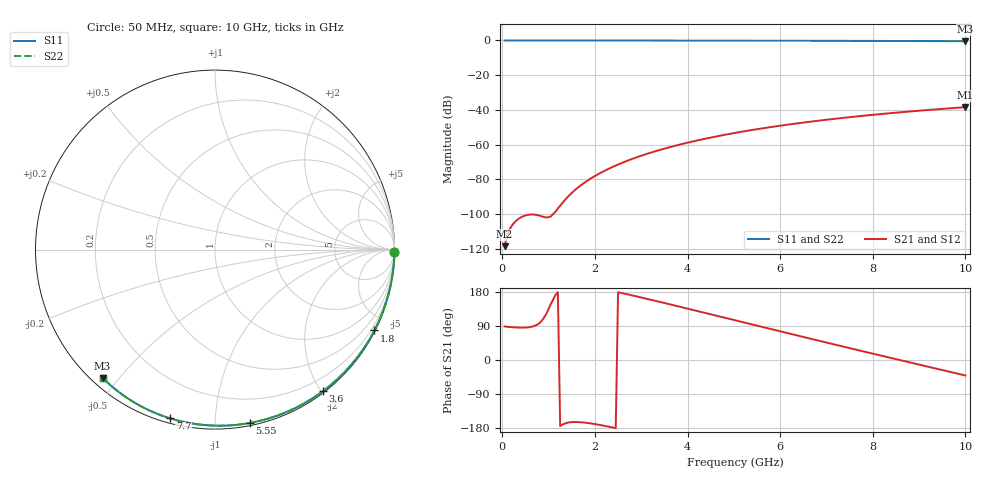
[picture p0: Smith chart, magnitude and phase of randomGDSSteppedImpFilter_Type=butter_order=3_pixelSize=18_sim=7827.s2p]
! freq	dB(S11)	phase(S11)	dB(S12)	phase(S12)
!  dB(S21)	phase(S21)	dB(S22)	phase(S22)
!S-par simulation data
#  GHz  S  DB  R 50
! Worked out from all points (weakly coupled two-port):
!   200 points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, 50 MHz to 10 GHz, reference 50 ohm
!   highest |S21| = -38.45 dB at 10 GHz (marker M1); lowest = -118.5 dB at 50 MHz (marker M2)
!   lowest |S11| = -0.4 dB at 10 GHz (marker M3), VSWR 39.13, Z = 1.54 - j22.6 ohm
!   |S11| at or under -10 dB: nowhere
!   |S22| runs from -0.4 to 0.0 dB; largest |S21 - S12| = 0
!   S11 on the Smith chart (normalised r, x): 50 MHz: open; 1.8 GHz: 0.04, -4.18; 3.6 GHz: 0.02, -2.02; 5.55 GHz: 0.02, -1.22; 7.7 GHz: 0.02, -0.77; 10 GHz: 0.03, -0.45
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0.05  -0.00 -0.8  -118.51 88.6  -118.51 88.6  -0.00 -0.8
0.9  -0.02 -13.6  -101.73 111.6  -101.73 111.6  -0.02 -13.6
1.75  -0.03 -26.2  -82.38 -164.8  -82.38 -164.8  -0.03 -26.2
1.8  -0.03 -26.9  -81.44 -165.5  -81.44 -165.5  -0.03 -26.9
1.85  -0.04 -27.6  -80.55 -166.3  -80.55 -166.3  -0.04 -27.6
1.9  -0.04 -28.4  -79.69 -167.1  -79.69 -167.1  -0.04 -28.4
2.05  -0.04 -30.5  -77.32 -170.1  -77.32 -170.1  -0.04 -30.6
2.25  -0.04 -33.5  -74.51 -174.7  -74.51 -174.7  -0.04 -33.5
2.45  -0.05 -36.3  -72.04 -179.8  -72.04 -179.8  -0.05 -36.3
2.65  -0.05 -39.2  -69.82 174.8  -69.82 174.8  -0.05 -39.2
3  -0.06 -44.2  -66.41 165.0  -66.41 165.0  -0.06 -44.2
3.4  -0.07 -49.8  -63.07 153.4  -63.07 153.4  -0.07 -49.8
3.6  -0.07 -52.6  -61.58 147.5  -61.58 147.5  -0.07 -52.6
4.3  -0.09 -62.2  -57.07 126.6  -57.07 126.6  -0.09 -62.2
5.05  -0.11 -72.1  -53.14 104.1  -53.14 104.1  -0.11 -72.1
5.55  -0.13 -78.6  -50.91 89.1  -50.91 89.1  -0.13 -78.6
6.1  -0.15 -85.5  -48.73 72.6  -48.73 72.6  -0.15 -85.5
6.7  -0.18 -92.9  -46.63 54.8  -46.63 54.8  -0.18 -92.9
7.7  -0.24 -104.9  -43.64 25.5  -43.64 25.5  -0.24 -104.9
8.35  -0.29 -112.5  -41.96 6.6  -41.96 6.6  -0.29 -112.5
9.15  -0.36 -121.7  -40.14 -16.5  -40.14 -16.5  -0.36 -121.7
10  -0.44 -131.2  -38.45 -40.8  -38.45 -40.8  -0.44 -131.2
